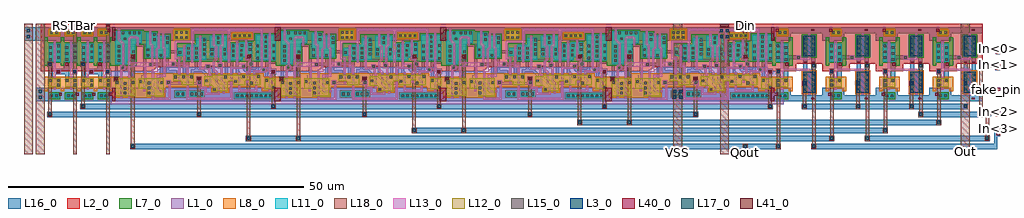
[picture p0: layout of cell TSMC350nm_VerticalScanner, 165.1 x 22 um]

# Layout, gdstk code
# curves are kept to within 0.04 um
from math import pi, radians
import gdstk
lib = gdstk.Library(unit=1e-6, precision=1e-09)
def R(c, l, rs):  # rectangles x0, y0, x1, y1
    for r in rs: c.add(gdstk.rectangle(r[:2], r[2:], *l))
def A(c, l, x, y, w, h, nx, ny, dx, dy):  # array of equal rectangles
    R(c, l, [(x+i*dx, y+j*dy, x+i*dx+w, y+j*dy+h) for i in range(nx) for j in range(ny)])
def P(c, l, *ps):  # polygons
    for p in ps: c.add(gdstk.Polygon(p, *l))
L1_0 = (1, 0)
L2_0 = (2, 0)
L3_0 = (3, 0)
L7_0 = (7, 0)
L8_0 = (8, 0)
L11_0 = (11, 0)
L12_0 = (12, 0)
L13_0 = (13, 0)
L15_0 = (15, 0)
L16_0 = (16, 0)
L17_0 = (17, 0)
L18_0 = (18, 0)
L40_0 = (40, 0)
L41_0 = (41, 0)

prog_periph_via2_cdns_73 = lib.new_cell('prog_periph_VIA2_CDNS_731114697990')
R(prog_periph_via2_cdns_73, L16_0, [(-0.45,-0.45,0.45,0.45)])
R(prog_periph_via2_cdns_73, L17_0, [(-0.25,-0.25,0.25,0.25)])
R(prog_periph_via2_cdns_73, L18_0, [(-0.4,-0.4,0.4,0.4)])

dfcn1 = lib.new_cell('DFCN1')
P(dfcn1, L1_0, [(28.2,5.05),(20.45,5.05),(19.8,5.7),(1.1,5.7),(1.1,5.05),(-1.6,5.05),(-1.6,-0.55),(28.2,-0.55)])
P(dfcn1, L2_0, [(28.9,13.05),(-0.9,13.05),(-0.9,5.05),(1.8,5.05),(1.8,5.7),(20.5,5.7),(21.15,5.05),(28.9,5.05)])
R(dfcn1, L7_0, [(0.6,0.3,7.4,1.5), (12.3,0.55,17.5,1.85)])
P(dfcn1, L7_0, [(23.8,6),(23.8,9.5),(22.65,9.5),(22.65,7.15),(18.05,7.15),(18.05,11.4),(20.25,11.4),(20.25,11.85),(22.65,11.85),(22.65,12.1),(28,12.1),(28,10.8),(28.3,10.8),(28.3,6)],
  [(-0.3,6),(-0.3,10.8),(0,10.8),(0,11.45),(3.95,11.45),(3.95,10.2),(6.65,10.2),(6.65,9.95),(8.1,9.95),(8.1,11.35),(14,11.35),(14,9.8),(17.1,9.8),(17.1,6.65),(0.3,6.65),(0.3,6)])
R(dfcn1, L8_0, [(14.8,10.2,17.65,12.2), (4.2,10.45,7.8,11.65)])
P(dfcn1, L8_0, [(19,0.55),(19,2.35),(11.25,2.35),(11.25,1.4),(8.2,1.4),(8.2,2.35),(2.7,2.35),(2.7,1.7),(-0.3,1.7),(-0.3,4.1),(2.35,4.1),(2.35,4.75),(24.275,4.75),(24.275,4.1),(28.3,4.1),(28.3,1.7),(28,1.7),(28,0.55)])
R(dfcn1, L11_0, [(0.85,0.55,7.15,1.25), (12.55,0.85,14.85,1.55), (15.7,0.85,17.2,1.55), (0.3,6.9,3.7,11.2)])
P(dfcn1, L11_0, [(18.3,7.4),(18.3,11.05),(20.5,11.05),(20.5,11.6),(22.25,11.6),(22.25,7.4)],
  [(5.9,6.9),(5.9,7.45),(4.3,7.45),(4.3,9.95),(6.4,9.95),(6.4,9.7),(7.85,9.7),(7.85,8.3),(8.6,8.3),(8.6,11.05),(11.45,11.05),(11.45,7.4),(9.25,7.4),(9.25,6.9)],
  [(25.45,6.25),(25.45,6.9),(24.05,6.9),(24.05,9.8),(22.95,9.8),(22.95,11.85),(27.5,11.85),(27.5,6.25)],
  [(13.5,6.9),(13.5,7),(12.05,7),(12.05,10.7),(13.75,10.7),(13.75,9.5),(15.45,9.5),(15.45,9.05),(16.85,9.05),(16.85,7.65),(15.45,7.65),(15.45,6.9)])
R(dfcn1, L12_0, [(24.1,0.85,27.5,3.85), (0.3,2,2.2,3.85), (15.1,10.45,17.4,11.95), (4.45,10.7,7.55,11.4)])
P(dfcn1, L12_0, [(14.2,2.7),(14.2,4.5),(17.65,4.5),(17.65,3.4),(16.2,3.4),(16.2,2.7)],
  [(8.45,1.65),(8.45,3.4),(7.5,3.4),(7.5,2.7),(5.5,2.7),(5.5,3.5),(4.75,3.5),(4.75,2.7),(2.9,2.7),(2.9,4.5),(11,4.5),(11,4.2),(12.4,4.2),(12.4,2.6),(11,2.6),(11,1.65)],
  [(19.25,0.85),(19.25,3.85),(23.5,3.85),(23.5,2.1),(22.1,2.1),(22.1,0.85)])
P(dfcn1, L13_0, [(5.35,5.5),(5.35,6.3),(6.65,6.3),(6.65,10.1),(7,10.1),(7,5.85),(8.05,5.85),(8.05,0.6),(15.05,0.6),(15.05,6.05),(15.65,6.05),(15.65,9.45),(16,9.45),(16,5.7),(15.4,5.7),(15.4,0.25),(7.7,0.25),(7.7,5.5)],
  [(1.95,4.9),(1.95,5.7),(2.5,5.7),(2.5,12.25),(14.6,12.25),(14.6,10.25),(17.4,10.25),(17.4,7.1),(16.8,7.1),(16.8,3),(16.45,3),(16.45,7.45),(17.05,7.45),(17.05,9.9),(14.6,9.9),(14.6,6.5),(14.25,6.5),(14.25,11.9),(8.4,11.9),(8.4,6.5),(8.05,6.5),(8.05,11.9),(2.85,11.9),(2.85,5.25),(4.1,5.25),(4.1,3.65),(3.8,3.35),(3.8,1.95),(6.3,1.95),(6.3,4.9),(6.65,4.9),(6.65,1.6),(3.45,1.6),(3.45,3.5),(3.75,3.8),(3.75,4.9)],
  [(25.8,5.25),(25.8,6.05),(25.95,6.05),(25.95,9.8),(26.65,10.5),(26.65,12.25),(27,12.25),(27,10.35),(26.3,9.65),(26.3,6.05),(26.65,6.05),(26.65,0.45),(26.3,0.45),(26.3,5.25)],
  [(21.05,5.8),(21.05,9.45),(21.4,9.8),(21.4,12),(21.75,12),(21.75,9.65),(21.4,9.3),(21.4,6.6),(24.9,6.6),(24.9,10.5),(24.75,10.65),(23.95,10.65),(23.85,10.55),(23.85,9.4),(23.5,9.4),(23.5,10.7),(23.8,11),(24.9,11),(25.25,10.65),(25.3,0.45),(24.95,0.45),(24.9,5.8),(22.6,5.8),(22.6,2.9),(22.75,2.75),(22.75,1.7),(22.4,1.7),(22.4,2.6),(22.25,2.75),(22.25,5.8)],
  [(18.85,1.5),(18.85,1.85),(19.95,1.85),(20.1,2),(20.1,4.15),(18.9,4.15),(18.9,5.85),(17.25,5.85),(17.25,6.65),(18.9,6.65),(18.9,8.95),(19.15,9.2),(19.15,11.45),(19.5,11.45),(19.5,9.05),(19.25,8.8),(19.25,4.5),(20.45,4.5),(20.45,1.85),(20.1,1.5)],
  [(11.2,2.2),(11.2,4.65),(11.4,4.85),(11.4,6.25),(12.2,6.25),(12.2,5.7),(12.9,5.7),(12.9,11.1),(13.25,11.1),(13.25,5.35),(11.75,5.35),(11.75,4.7),(11.55,4.5),(11.55,2.2)],
  [(8.95,1.25),(8.95,3.1),(9.3,3.45),(9.3,6.4),(9.45,6.4),(9.45,9.1),(9.1,9.45),(9.1,11.45),(9.45,11.45),(9.45,9.6),(9.8,9.25),(9.8,6.4),(10.15,6.4),(10.15,5.6),(9.65,5.6),(9.65,3.3),(9.3,2.95),(9.3,1.25)],
  [(18.05,0.25),(18.05,3.55),(18.85,3.55),(18.85,2.75),(18.4,2.75),(18.4,0.6),(20.9,0.6),(20.9,5),(20.25,5),(20.25,8.65),(19.95,8.95),(19.95,11.45),(20.3,11.45),(20.3,9.1),(20.6,8.8),(20.6,5.35),(21.25,5.35),(21.25,0.25)],
  [(9.8,1.05),(9.8,2.65),(10.15,3),(10.15,4.95),(10.6,5.4),(10.6,6.6),(10.25,6.95),(10.25,9.25),(10.6,9.6),(10.6,11.45),(10.95,11.45),(10.95,9.45),(10.6,9.1),(10.6,7.1),(10.95,6.75),(10.95,5.25),(10.5,4.8),(10.5,2.85),(10.15,2.5),(10.15,1.4),(12,1.4),(12,2.4),(12.8,2.4),(12.8,3.55),(13.6,3.55),(13.6,2.75),(13.15,2.75),(13.15,2.05),(12.35,2.05),(12.35,1.05)],
  [(1.15,1.6),(1.15,2.75),(1,2.9),(1,4.6),(0.3,4.6),(0.3,5.4),(1.15,5.4),(1.15,11.6),(1.5,11.6),(1.5,4.6),(1.35,4.6),(1.35,3.05),(1.5,2.9),(1.5,1.6)],
  [(4.55,4.7),(4.55,5.9),(4.1,5.9),(4.1,6.7),(4.55,6.7),(4.55,7.25),(5.15,7.25),(5.15,10.35),(5.5,10.35),(5.5,6.9),(4.9,6.9),(4.9,5.05),(5.3,5.05),(5.3,3.1),(4.95,3.1),(4.95,4.7)])
A(dfcn1, L15_0, 1, 0.7, 0.4, 0.4, 8, 1, 0.8, 0)
A(dfcn1, L15_0, 12.7, 1, 0.4, 0.4, 3, 1, 0.8, 0)
A(dfcn1, L15_0, 21.55, 1.15, 0.4, 0.4, 1, 3, 0, 0.85)
A(dfcn1, L15_0, 25.6, 1.15, 0.4, 0.4, 1, 3, 0, 0.8)
A(dfcn1, L15_0, 26.65, 6.65, 0.4, 0.4, 1, 4, 0, 0.8)
A(dfcn1, L15_0, 13.55, 7.15, 0.4, 0.4, 1, 3, 0, 0.8)
A(dfcn1, L15_0, 1.8, 7.45, 0.4, 0.4, 1, 5, 0, 0.8)
A(dfcn1, L15_0, 12.2, 7.75, 0.4, 0.4, 1, 4, 0, 0.8)
A(dfcn1, L15_0, 15.25, 10.6, 0.4, 0.4, 3, 2, 0.8, 0.8)
A(dfcn1, L15_0, 4.6, 10.85, 0.4, 0.4, 4, 1, 0.8, 0)
A(dfcn1, L15_0, 23.2, 11.3, 0.4, 0.4, 3, 1, 0.8, 0)
R(dfcn1, L15_0, [(15.85,1,16.25,1.4), (16.65,1,17.05,1.4), (10.45,1.8,10.85,2.2), (0.45,2.15,0.85,2.55), (4.2,2.85,4.6,3.25), (13,2.95,13.4,3.35), (18.25,2.95,18.65,3.35), (19.4,2.95,19.8,3.35), (24.25,2.95,24.65,3.35), (26.95,2.95,27.35,3.35), (22.95,3.1,23.35,3.5), (6.95,3.15,7.35,3.55), (11.85,3.25,12.25,3.65), (1.65,3.3,2.05,3.7), (8.6,3.85,9,4.25), (14.35,3.9,14.75,4.3), (15.7,3.9,16.1,4.3), (17.1,3.9,17.5,4.3), (3.05,3.95,3.45,4.35), (5.6,3.95,6,4.35), (0.5,4.8,0.9,5.2), (2.15,5.1,2.55,5.5), (26,5.45,26.4,5.85), (11.6,5.65,12,6.05), (5.55,5.7,5.95,6.1), (9.55,5.8,9.95,6.2), (21.25,6,21.65,6.4), (17.45,6.05,17.85,6.45), (4.3,6.1,4.7,6.5), (0.45,7.05,0.85,7.45), (14.9,7.05,15.3,7.45), (24.2,7.05,24.6,7.45), (3.15,7.1,3.55,7.5), (7.3,7.5,7.7,7.9), (19.55,7.55,19.95,7.95), (21.7,7.55,22.1,7.95), (5.95,7.6,6.35,8), (8.75,7.75,9.15,8.15), (10.9,7.75,11.3,8.15), (14.9,7.95,15.3,8.35), (16.3,8.05,16.7,8.45), (0.45,8.15,0.85,8.55), (3.15,8.15,3.55,8.55), (24.2,8.15,24.6,8.55), (7.3,8.3,7.7,8.7), (5.95,8.4,6.35,8.8), (21.7,8.5,22.1,8.9), (4.45,8.55,4.85,8.95), (8.75,8.55,9.15,8.95), (10.9,8.55,11.3,8.95), (14.9,8.75,15.3,9.15), (3.15,9.15,3.55,9.55), (7.3,9.15,7.7,9.55), (0.45,9.2,0.85,9.6), (5.85,9.2,6.25,9.6), (4.45,9.4,4.85,9.8), (9.85,9.7,10.25,10.1), (18.45,9.7,18.85,10.1), (20.65,10.25,21.05,10.65), (25.6,10.35,26,10.75), (9.85,10.5,10.25,10.9), (18.45,10.5,18.85,10.9), (20.65,11.05,21.05,11.45), (25.95,11.3,26.35,11.7)])
R(dfcn1, L16_0, [(0.25,4.55,1.15,5.45)])
P(dfcn1, L16_0, [(22.55,2.95),(22.55,3.9),(22.25,3.9),(22.25,7.4),(21.55,7.4),(21.55,8.55),(18.95,8.55),(18.95,4.75),(17.65,4.75),(17.65,3.75),(16.95,3.75),(16.95,5.25),(18.45,5.25),(18.45,8.1),(16.85,8.1),(16.85,7.9),(16.15,7.9),(16.15,8.6),(18.45,8.6),(18.45,9.05),(22.25,9.05),(22.25,9.7),(25.95,9.7),(25.95,6),(26.55,6),(26.55,5.3),(25.45,5.3),(25.45,9.2),(22.75,9.2),(22.75,4.4),(23.05,4.4),(23.05,3.65),(23.5,3.65),(23.5,2.95)],
  [(7.5,2.75),(7.5,3),(6.8,3),(6.8,3.7),(7.5,3.7),(7.5,7.35),(7.15,7.35),(7.15,9.7),(7.85,9.7),(7.85,8.05),(8,8.05),(8,3.25),(9.55,3.25),(10.6,4.3),(10.6,6),(11.45,6),(11.45,6.2),(12.15,6.2),(12.15,5.55),(12.1,5.5),(11.1,5.5),(11.1,4.05),(9.8,2.75)],
  [(5.45,3.8),(5.45,4.5),(5.95,4.5),(6.55,5.1),(6.55,6.5),(6,7.05),(6,7.45),(5.8,7.45),(5.8,9.05),(5.7,9.05),(5.7,9.75),(6.5,9.75),(6.5,7.3),(7.05,6.75),(7.05,4.8),(6.25,4),(6.15,4),(6.15,3.8)],
  [(2.9,3.8),(2.9,4.5),(3.15,4.5),(3.15,6.95),(3,6.95),(3,9.7),(3.7,9.7),(3.65,5.5),(5.15,5.5),(5.4,5.75),(5.4,6.25),(6.1,6.25),(6.1,5.55),(5.55,5),(3.65,5),(3.65,3.8)],
  [(0.3,6.3),(0.3,9.75),(1,9.75),(1,6.8),(2.1,6.8),(2.1,5.65),(2.7,5.65),(2.7,4.95),(2.1,4.95),(2.1,3.85),(2.2,3.85),(2.2,3.15),(1.5,3.15),(1.5,3.85),(1.6,3.85),(1.6,6.3)],
  [(14.95,6),(14.95,6.9),(14.75,6.9),(14.75,9.3),(15.45,9.3),(15.45,6.5),(17.3,6.5),(17.3,6.6),(18,6.6),(18,5.9),(17.3,5.9),(17.3,6),(16.05,6),(16.05,4.45),(16.25,4.45),(16.25,3.75),(15.55,3.75),(15.55,6)],
  [(11.7,3.1),(11.7,3.8),(11.85,3.8),(11.85,4.6),(12.6,5.35),(13.5,5.35),(13.5,6.65),(10.1,6.65),(10.1,5.65),(9.4,5.65),(9.4,6.35),(9.6,6.35),(9.6,7.15),(13.4,7.15),(13.4,9.3),(14.1,9.3),(14.1,7),(14,7),(14,5.35),(14.7,5.35),(14.7,4.45),(14.9,4.45),(14.9,3.75),(14.2,3.75),(14.2,4.85),(12.85,4.85),(12.35,4.35),(12.4,3.1)],
  [(8.45,3.7),(8.45,8.1),(8.6,8.1),(8.6,9.1),(9.3,9.1),(9.3,8.1),(10.75,8.1),(10.75,9.1),(11.45,9.1),(11.45,7.6),(8.95,7.6),(8.95,4.4),(9.15,4.4),(9.15,3.7)],
  [(19.25,2.8),(19.25,3.5),(19.4,3.5),(19.4,8.1),(20.1,8.1),(20.1,7.4),(19.9,7.4),(19.9,6.45),(21.1,6.45),(21.1,6.55),(21.8,6.55),(21.8,5.85),(21.1,5.85),(21.1,5.95),(19.9,5.95),(19.9,3.5),(19.95,3.5),(19.95,2.8)],
  [(0,0),(0,2.3),(0.3,2.3),(0.3,2.7),(1,2.7),(1,2.3),(4.05,2.3),(4.05,3.4),(4.75,3.4),(4.75,2.3),(10.3,2.3),(10.3,2.35),(11,2.35),(11,2.3),(21.4,2.3),(21.4,3.4),(22.1,3.4),(22.1,2.3),(25.45,2.3),(25.45,3.3),(26.15,3.3),(26.15,2.3),(28,2.3),(28,0)],
  [(1.65,7.3),(1.65,10.2),(0,10.2),(0,12.5),(28,12.5),(28,10.2),(21.2,10.2),(21.2,10.1),(20.5,10.1),(20.5,10.2),(19,10.2),(19,9.55),(18.3,9.55),(18.3,10.2),(12.75,10.2),(12.75,7.6),(12.05,7.6),(12.05,10.2),(10.4,10.2),(10.4,9.55),(9.7,9.55),(9.7,10.2),(5,10.2),(5,8.4),(4.3,8.4),(4.3,10.2),(2.35,10.2),(2.35,7.3)],
  [(26.8,2.8),(26.8,3.5),(26.85,3.5),(26.85,4.2),(27,4.2),(27,6.5),(26.5,6.5),(26.5,9.6),(27.2,9.6),(27.2,7.2),(27.5,7.2),(27.5,4.2),(27.75,4.2),(27.75,3.3),(27.5,3.3),(27.5,2.8)],
  [(24.1,2.8),(24.1,3.5),(24.4,3.5),(24.4,6.9),(24.05,6.9),(24.05,8.7),(24.75,8.7),(24.75,7.95),(24.95,7.95),(24.95,7.05),(24.9,7.05),(24.9,2.8)],
  [(4.15,5.95),(4.15,6.65),(4.35,6.65),(4.35,7.95),(5.35,7.95),(5.35,7.05),(4.85,7.05),(4.85,5.95)],
  [(12.85,2.8),(12.85,4.2),(13.75,4.2),(13.75,3.3),(18.1,3.3),(18.1,3.5),(18.8,3.5),(18.8,2.8)])
R(dfcn1, L40_0, [(0,0,0.55,2.3), (27.45,0,28,2.3), (0,10.2,0.51,12.5), (27.45,10.2,28,12.5)])
R(dfcn1, L41_0, [(13.05,3.5,13.55,4), (27.05,3.5,27.55,4), (0.45,4.75,0.95,5.25), (4.65,7.25,5.15,7.75), (24.25,7.25,24.75,7.75)])
dfcn1.add(gdstk.Reference(prog_periph_via2_cdns_73, (24.5,7.5)))
dfcn1.add(gdstk.Reference(prog_periph_via2_cdns_73, (27.3,3.75)))
dfcn1.add(gdstk.Reference(prog_periph_via2_cdns_73, (13.3,3.74)))
dfcn1.add(gdstk.Reference(prog_periph_via2_cdns_73, (4.9,7.5)))
dfcn1.add(gdstk.Reference(prog_periph_via2_cdns_73, (0.7,5)))
dfcn1.add(gdstk.Label('D', (4.9,7.5), layer=41, texttype=0))
dfcn1.add(gdstk.Label('CP', (0.7,5), layer=41, texttype=0))
dfcn1.add(gdstk.Label('CDN', (13.3,3.75), layer=41, texttype=0))
dfcn1.add(gdstk.Label('Q', (24.5,7.5), layer=41, texttype=0))
dfcn1.add(gdstk.Label('QN', (27.3,3.75), layer=41, texttype=0))
dfcn1.add(gdstk.Label('DFCN1', (0,0), layer=62, texttype=0))
dfcn1.add(gdstk.Label('VSS!', (27.73,1.21), layer=40, texttype=0))
dfcn1.add(gdstk.Label('VDD!', (27.67,11.42), layer=40, texttype=0))
dfcn1.add(gdstk.Label('VDD!', (0.22,11.42), layer=40, texttype=0))
dfcn1.add(gdstk.Label('VSS!', (0.28,1.21), layer=40, texttype=0))
dfcn1.add(gdstk.Label('& SerialNumber 000000', (28.15,0), layer=11, texttype=0))
dfcn1.add(gdstk.Label('& Distributor Vanguard', (28.15,0), layer=11, texttype=0))
dfcn1.add(gdstk.Label('& Metric 350.0', (28.15,0), layer=11, texttype=0))
dfcn1.add(gdstk.Label('& Version 400c', (28.15,0), layer=11, texttype=0))
dfcn1.add(gdstk.Label('& Product tcb773p', (28.15,0), layer=11, texttype=0))
dfcn1.add(gdstk.Label('& Vendor Taiwan Semiconductor Manufacturing Corp.', (28.15,0), layer=11, texttype=0))
dfcn1.add(gdstk.Label('& Vendor Taiwan Semiconductor Manufacturing Corp.', (0.7,0), layer=11, texttype=0))
dfcn1.add(gdstk.Label('& Product tcb773p', (0.7,0), layer=11, texttype=0))
dfcn1.add(gdstk.Label('& Version 400c', (0.7,0), layer=11, texttype=0))
dfcn1.add(gdstk.Label('& Metric 350.0', (0.7,0), layer=11, texttype=0))
dfcn1.add(gdstk.Label('& Distributor Vanguard', (0.7,0), layer=11, texttype=0))
dfcn1.add(gdstk.Label('& SerialNumber 000000', (0.7,0), layer=11, texttype=0))
dfcn1.add(gdstk.Label('& SerialNumber 000000', (0,0), layer=63, texttype=63))
dfcn1.add(gdstk.Label('& Distributor Vanguard', (0,0), layer=63, texttype=63))
dfcn1.add(gdstk.Label('& Metric 350.0', (0,0), layer=63, texttype=63))
dfcn1.add(gdstk.Label('& Version 400c', (0,0), layer=63, texttype=63))
dfcn1.add(gdstk.Label('& Product tcb773p', (0,0), layer=63, texttype=63))
dfcn1.add(gdstk.Label('& Vendor Taiwan Semiconductor Manufacturing Corp.', (0,0), layer=63, texttype=63))

inv0 = lib.new_cell('INV0')
R(inv0, L2_0, [(-1.6,5.05,3,13.05)])
R(inv0, L7_0, [(-0.3,0.3,1.7,1.5)])
P(inv0, L7_0, [(-1,6),(-1,10.8),(-0.4,10.8),(-0.4,9.95),(1.8,9.95),(1.8,10.8),(2.4,10.8),(2.4,6),(1.8,6),(1.8,6.45),(-0.4,6.45),(-0.4,6)])
R(inv0, L8_0, [(-0.3,11,1.7,12.2)])
P(inv0, L8_0, [(-1,1.7),(-1,4.1),(2.4,4.1),(2.4,1.7),(1.8,1.7),(1.8,2.1),(-0.4,2.1),(-0.4,1.7)])
R(inv0, L11_0, [(-0.05,0.55,1.45,1.25), (-0.4,6.7,1.65,9.7)])
R(inv0, L12_0, [(-0.4,2.35,1.65,3.85), (-0.05,11.25,1.45,11.95)])
P(inv0, L13_0, [(0.45,1.95),(0.45,4.6),(-0.4,4.6),(-0.4,5.4),(0.45,5.4),(0.45,10.1),(0.8,10.1),(0.8,1.95)])
A(inv0, L15_0, 1.1, 6.85, 0.4, 0.4, 1, 3, 0, 1)
A(inv0, L15_0, -0.25, 7.15, 0.4, 0.4, 1, 3, 0, 1)
R(inv0, L15_0, [(0.1,0.7,0.5,1.1), (0.9,0.7,1.3,1.1), (-0.25,2.5,0.15,2.9), (-0.25,3.3,0.15,3.7), (1.1,3.3,1.5,3.7), (-0.2,4.8,0.2,5.2), (0.1,11.4,0.5,11.8), (0.9,11.4,1.3,11.8)])
R(inv0, L16_0, [(-0.45,4.55,0.45,5.45)])
P(inv0, L16_0, [(-0.7,0),(-0.7,2.3),(-0.4,2.3),(-0.4,3.85),(0.3,3.85),(0.3,2.3),(2.1,2.3),(2.1,0)],
  [(-0.4,7),(-0.4,10.2),(-0.7,10.2),(-0.7,12.5),(2.1,12.5),(2.1,10.2),(0.3,10.2),(0.3,7)],
  [(0.95,3.15),(0.95,9.4),(1.65,9.4),(1.65,6.7),(1.85,6.7),(1.85,5.8),(1.65,5.8),(1.65,3.15)])
R(inv0, L40_0, [(-0.625,0.9,-0.125,1.4), (-0.25,4.75,0.25,5.25), (1.15,6,1.65,6.5), (-0.425,11.75,0.075,12.25)])
inv0.add(gdstk.Label('ZN', (1.4,6.25), layer=40, texttype=0))
inv0.add(gdstk.Label('I', (0,5), layer=40, texttype=0))
inv0.add(gdstk.Label('VDD!', (-0.175,12), layer=40, texttype=0))
inv0.add(gdstk.Label('VSS!', (-0.375,1.15), layer=40, texttype=0))

nch_cdns_713049366980 = lib.new_cell('nch_CDNS_713049366980')
R(nch_cdns_713049366980, L3_0, [(-0.85,0,-0.15,3.5), (-0.85,0,-0.15,3.5), (-0.15,0,0.5,3.5), (0.5,0,1.2,3.5), (0.5,0,1.2,3.5)])
R(nch_cdns_713049366980, L8_0, [(-1.1,-0.25,1.45,3.75)])
R(nch_cdns_713049366980, L13_0, [(0,-0.4,0.35,3.9)])
A(nch_cdns_713049366980, L15_0, -0.7, 0.35, 0.4, 0.4, 1, 4, 0, 0.8)
A(nch_cdns_713049366980, L15_0, 0.65, 0.35, 0.4, 0.4, 1, 4, 0, 0.8)
R(nch_cdns_713049366980, L16_0, [(-0.85,0,-0.15,3.5), (0.5,0,1.2,3.5)])
nch_cdns_713049366980.add(gdstk.Label('G', (0.175,1.75), layer=59, texttype=0))
nch_cdns_713049366980.add(gdstk.Label('S', (-0.5,1.75), layer=59, texttype=0))
nch_cdns_713049366980.add(gdstk.Label('D', (0.85,1.75), layer=59, texttype=0))
nch_cdns_713049366980.add(gdstk.Label('& Vendor VIS Corp.', (0,0), layer=16, texttype=0))
nch_cdns_713049366980.add(gdstk.Label('& PDKName     vis35cv', (0,0), layer=16, texttype=0))
nch_cdns_713049366980.add(gdstk.Label('& Version    \t  1.7A', (0,0), layer=16, texttype=0))
nch_cdns_713049366980.add(gdstk.Label('& Metric 1', (0,0), layer=16, texttype=0))
nch_cdns_713049366980.add(gdstk.Label('& Distributor VIS', (0,0), layer=16, texttype=0))
nch_cdns_713049366980.add(gdstk.Label('& SerialNumber 000000', (0,0), layer=16, texttype=0))
nch_cdns_713049366980.add(gdstk.Label('& Vendor VIS Corp.', (0,0), layer=63, texttype=63))
nch_cdns_713049366980.add(gdstk.Label('& PDKName     vis35cv', (0,0), layer=63, texttype=63))
nch_cdns_713049366980.add(gdstk.Label('& Version    \t  1.7A', (0,0), layer=63, texttype=63))
nch_cdns_713049366980.add(gdstk.Label('& Metric 1', (0,0), layer=63, texttype=63))
nch_cdns_713049366980.add(gdstk.Label('& Distributor VIS', (0,0), layer=63, texttype=63))
nch_cdns_713049366980.add(gdstk.Label('& SerialNumber 000000', (0,0), layer=63, texttype=63))

pch_cdns_713049366981 = lib.new_cell('pch_CDNS_713049366981')
R(pch_cdns_713049366981, L2_0, [(-2.05,-1.2,2.4,4.7)])
R(pch_cdns_713049366981, L3_0, [(-0.85,0,-0.15,3.5), (-0.85,0,-0.15,3.5), (-0.15,0,0.5,3.5), (0.5,0,1.2,3.5), (0.5,0,1.2,3.5)])
R(pch_cdns_713049366981, L7_0, [(-1.1,-0.25,1.45,3.75)])
R(pch_cdns_713049366981, L13_0, [(0,-0.4,0.35,3.9)])
A(pch_cdns_713049366981, L15_0, -0.7, 0.35, 0.4, 0.4, 1, 4, 0, 0.8)
A(pch_cdns_713049366981, L15_0, 0.65, 0.35, 0.4, 0.4, 1, 4, 0, 0.8)
R(pch_cdns_713049366981, L16_0, [(-0.85,0,-0.15,3.5), (0.5,0,1.2,3.5)])
pch_cdns_713049366981.add(gdstk.Label('G', (0.175,1.75), layer=59, texttype=0))
pch_cdns_713049366981.add(gdstk.Label('S', (-0.5,1.75), layer=59, texttype=0))
pch_cdns_713049366981.add(gdstk.Label('D', (0.85,1.75), layer=59, texttype=0))
pch_cdns_713049366981.add(gdstk.Label('& Vendor VIS Corp.', (0,0), layer=16, texttype=0))
pch_cdns_713049366981.add(gdstk.Label('& PDKName     vis35cv', (0,0), layer=16, texttype=0))
pch_cdns_713049366981.add(gdstk.Label('& Version    \t  1.7A', (0,0), layer=16, texttype=0))
pch_cdns_713049366981.add(gdstk.Label('& Metric 1', (0,0), layer=16, texttype=0))
pch_cdns_713049366981.add(gdstk.Label('& Distributor VIS', (0,0), layer=16, texttype=0))
pch_cdns_713049366981.add(gdstk.Label('& SerialNumber 000000', (0,0), layer=16, texttype=0))
pch_cdns_713049366981.add(gdstk.Label('& Vendor VIS Corp.', (0,0), layer=63, texttype=63))
pch_cdns_713049366981.add(gdstk.Label('& PDKName     vis35cv', (0,0), layer=63, texttype=63))
pch_cdns_713049366981.add(gdstk.Label('& Version    \t  1.7A', (0,0), layer=63, texttype=63))
pch_cdns_713049366981.add(gdstk.Label('& Metric 1', (0,0), layer=63, texttype=63))
pch_cdns_713049366981.add(gdstk.Label('& Distributor VIS', (0,0), layer=63, texttype=63))
pch_cdns_713049366981.add(gdstk.Label('& SerialNumber 000000', (0,0), layer=63, texttype=63))

m1_poly1__190324780_cdns = lib.new_cell('M1_POLY1$$190324780_CDNS_731114697993')
R(m1_poly1__190324780_cdns, L13_0, [(-0.4,-0.4,0.4,0.4)])
R(m1_poly1__190324780_cdns, L15_0, [(-0.2,-0.2,0.2,0.2)])
R(m1_poly1__190324780_cdns, L16_0, [(-0.35,-0.35,0.35,0.35)])

tgate_with_inverter = lib.new_cell('tgate_with_inverter')
R(tgate_with_inverter, L2_0, [(0,12.25,4.45,13.05)])
R(tgate_with_inverter, L13_0, [(2.05,5.15,6.65,5.5), (2.05,7,4.45,7.35)])
R(tgate_with_inverter, L16_0, [(0,0,6.9,1), (8.15,0,9.05,2.3), (1.2,4.95,1.9,7.55), (2.55,4.95,3.25,7.55), (5.6,6.7,5.8,7.05), (4.4,7.05,5.8,7.75), (8.15,10.2,9.05,12.5), (0,11.5,6.9,12.5)])
R(tgate_with_inverter, L40_0, [(1.36,0.3,1.91,0.57), (7.21,5.25,7.69,5.38), (1.38,6.48,1.72,6.63), (2.73,6.48,3.07,6.63), (1.36,11.89,1.91,12.16)])
tgate_with_inverter.add(gdstk.Reference(inv0, (7.45,0), rotation=pi, x_reflection=True))
tgate_with_inverter.add(gdstk.Reference(nch_cdns_713049366980, (2.05,1.45)))
tgate_with_inverter.add(gdstk.Reference(pch_cdns_713049366981, (2.05,7.55)))
tgate_with_inverter.add(gdstk.Reference(m1_poly1__190324780_cdns, (4.05,7.4)))
tgate_with_inverter.add(gdstk.Label('VDD!', (1.64,12.02), layer=40, texttype=0))
tgate_with_inverter.add(gdstk.Label('Sel', (7.45,5.31), layer=40, texttype=0))
tgate_with_inverter.add(gdstk.Label('A', (1.55,6.55), layer=40, texttype=0))
tgate_with_inverter.add(gdstk.Label('B', (2.9,6.55), layer=40, texttype=0))
tgate_with_inverter.add(gdstk.Label('VSS!', (1.64,0.43), layer=40, texttype=0))

m2_m1__193668140_cdns_73 = lib.new_cell('M2_M1$$193668140_CDNS_731114697991')
R(m2_m1__193668140_cdns_73, L16_0, [(-0.95,-0.95,0.95,0.95)])
R(m2_m1__193668140_cdns_73, L17_0, [(-0.75,-0.75,-0.25,-0.25), (0.25,-0.75,0.75,-0.25), (-0.75,0.25,-0.25,0.75), (0.25,0.25,0.75,0.75)])
R(m2_m1__193668140_cdns_73, L18_0, [(-0.9,-0.9,0.9,0.9)])

m2_m1__193575980_cdns_73 = lib.new_cell('M2_M1$$193575980_CDNS_731114697992')
R(m2_m1__193575980_cdns_73, L16_0, [(-0.45,-0.95,0.45,0.95)])
R(m2_m1__193575980_cdns_73, L17_0, [(-0.25,-0.75,0.25,-0.25), (-0.25,0.25,0.25,0.75)])
R(m2_m1__193575980_cdns_73, L18_0, [(-0.4,-0.9,0.4,0.9)])

tsmc350nm_verticalscanne = lib.new_cell('TSMC350nm_VerticalScanner')
R(tsmc350nm_verticalscanne, L16_0, [(164.63,3.01,165.1,3.94), (164.41,6.35,165.1,6.79), (2,8.95,3.7,11.25), (6.25,13.5,6.95,14.4), (11.85,13.5,12.55,14.4), (164.29,14.14,165.1,14.7), (6.75,14.4,6.95,14.75), (12.35,14.4,12.55,14.75), (164.34,16.84,165.1,17.55), (0,19.15,3.7,21.44)])
R(tsmc350nm_verticalscanne, L40_0, [(164.45,3.14,165.1,4.44), (164.41,6.42,165.1,7.29), (164.47,10.71,165.1,11.2), (164.37,14.23,165.1,15.2), (164.37,16.96,165.1,18.04)])
R(tsmc350nm_verticalscanne, L41_0, [(109.81,0,111.31,0.47), (121.7,0,122.3,0.6), (158.45,0,159.95,0.82), (117.74,21.46,119.24,22), (121.7,21.57,122.3,22), (13.9,21.62,14.5,22), (8.3,21.63,8.9,22)])
tsmc350nm_verticalscanne.add(gdstk.FlexPath([(164.38,1.1),(164.52,1.1)], 0.5, ends=(0.25, 0), simple_path=True, layer=16, datatype=0))  # L16_0
tsmc350nm_verticalscanne.add(gdstk.FlexPath([(164.38,4.19),(164.38,1.1)], 0.5, ends=(0, 0.25), simple_path=True, layer=16, datatype=0))  # L16_0
tsmc350nm_verticalscanne.add(gdstk.FlexPath([(37.7,2.65),(137.1,2.65)], 0.9, ends="flush", simple_path=True, layer=16, datatype=0))  # L16_0
tsmc350nm_verticalscanne.add(gdstk.FlexPath([(164.17,1.3),(133.3,1.3)], 0.9, ends="flush", simple_path=True, layer=16, datatype=0))  # L16_0
tsmc350nm_verticalscanne.add(gdstk.FlexPath([(151.4,6.7),(161.43,6.7)], 0.9, ends="flush", simple_path=True, layer=16, datatype=0))  # L16_0
tsmc350nm_verticalscanne.add(gdstk.FlexPath([(131.73,8.05),(159.65,8.05)], 0.9, ends="flush", simple_path=True, layer=16, datatype=0))  # L16_0
tsmc350nm_verticalscanne.add(gdstk.FlexPath([(126.5,8.05),(9.7,8.05)], 0.9, ends="flush", simple_path=True, layer=16, datatype=0))  # L16_0
tsmc350nm_verticalscanne.add(gdstk.FlexPath([(113.9,6.7),(3.98,6.7)], 0.9, ends="flush", simple_path=True, layer=16, datatype=0))  # L16_0
tsmc350nm_verticalscanne.add(gdstk.FlexPath([(127.65,1.3),(18.1,1.3)], 0.9, ends="flush", simple_path=True, layer=16, datatype=0))  # L16_0
tsmc350nm_verticalscanne.add(gdstk.FlexPath([(146,4),(65.7,4)], 0.9, ends="flush", simple_path=True, layer=16, datatype=0))  # L16_0
tsmc350nm_verticalscanne.add(gdstk.FlexPath([(155.05,5.35),(93.7,5.35)], 0.9, ends="flush", simple_path=True, layer=16, datatype=0))  # L16_0
tsmc350nm_verticalscanne.add(gdstk.FlexPath([(165.1,4.19),(164.13,4.19)], 0.5, ends="flush", simple_path=True, layer=16, datatype=0))  # L16_0
tsmc350nm_verticalscanne.add(gdstk.FlexPath([(165.1,7.04),(162.7,7.04)], 0.5, ends="flush", simple_path=True, layer=16, datatype=0))  # L16_0
tsmc350nm_verticalscanne.add(gdstk.FlexPath([(165.1,14.95),(161.45,14.95)], 0.5, ends="flush", simple_path=True, layer=16, datatype=0))  # L16_0
tsmc350nm_verticalscanne.add(gdstk.FlexPath([(165.1,17.8),(160.88,17.8)], 0.5, ends="flush", simple_path=True, layer=16, datatype=0))  # L16_0
tsmc350nm_verticalscanne.add(gdstk.FlexPath([(163.35,2.65),(142.65,2.65)], 0.9, ends="flush", simple_path=True, layer=16, datatype=0))  # L16_0
tsmc350nm_verticalscanne.add(gdstk.FlexPath([(0.75,22),(0.75,0)], 1.5, ends="flush", simple_path=True, layer=18, datatype=0))  # L18_0
tsmc350nm_verticalscanne.add(gdstk.FlexPath([(2.75,22),(2.75,0)], 1.5, ends="flush", simple_path=True, layer=18, datatype=0))  # L18_0
tsmc350nm_verticalscanne.add(gdstk.FlexPath([(122,1.54),(122,0)], 0.6, ends="flush", simple_path=True, layer=18, datatype=0))  # L18_0
tsmc350nm_verticalscanne.add(gdstk.FlexPath([(122,22),(122,16.05)], 0.6, ends="flush", simple_path=True, layer=18, datatype=0))  # L18_0
tsmc350nm_verticalscanne.add(gdstk.FlexPath([(110.56,22),(110.56,0)], 1.5, ends="flush", simple_path=True, layer=18, datatype=0))  # L18_0
tsmc350nm_verticalscanne.add(gdstk.FlexPath([(118.49,22),(118.49,0)], 1.5, ends="flush", simple_path=True, layer=18, datatype=0))  # L18_0
tsmc350nm_verticalscanne.add(gdstk.FlexPath([(132.05,12.01),(132.05,7.6)], 0.6, ends="flush", simple_path=True, layer=18, datatype=0))  # L18_0
tsmc350nm_verticalscanne.add(gdstk.FlexPath([(150.15,12.01),(150.15,7.6)], 0.6, ends="flush", simple_path=True, layer=18, datatype=0))  # L18_0
tsmc350nm_verticalscanne.add(gdstk.FlexPath([(141.1,12.01),(141.1,7.6)], 0.6, ends="flush", simple_path=True, layer=18, datatype=0))  # L18_0
tsmc350nm_verticalscanne.add(gdstk.FlexPath([(163,2.25),(163,7.24)], 0.6, ends="flush", simple_path=True, layer=18, datatype=0))  # L18_0
tsmc350nm_verticalscanne.add(gdstk.FlexPath([(161.9,6.3),(161.9,15.14)], 0.6, ends="flush", simple_path=True, layer=18, datatype=0))  # L18_0
tsmc350nm_verticalscanne.add(gdstk.FlexPath([(133.6,14.94),(133.6,1.28)], 0.6, ends="flush", simple_path=True, layer=18, datatype=0))  # L18_0
tsmc350nm_verticalscanne.add(gdstk.FlexPath([(142.65,14.94),(142.65,2.2)], 0.6, ends="flush", simple_path=True, layer=18, datatype=0))  # L18_0
tsmc350nm_verticalscanne.add(gdstk.FlexPath([(151.7,14.94),(151.7,6.25)], 0.6, ends="flush", simple_path=True, layer=18, datatype=0))  # L18_0
tsmc350nm_verticalscanne.add(gdstk.FlexPath([(127.6,13.95),(127.6,0.85)], 0.6, ends="flush", simple_path=True, layer=18, datatype=0))  # L18_0
tsmc350nm_verticalscanne.add(gdstk.FlexPath([(136.65,13.95),(136.65,2.44)], 0.6, ends="flush", simple_path=True, layer=18, datatype=0))  # L18_0
tsmc350nm_verticalscanne.add(gdstk.FlexPath([(154.75,13.95),(154.75,4.9)], 0.6, ends="flush", simple_path=True, layer=18, datatype=0))  # L18_0
tsmc350nm_verticalscanne.add(gdstk.FlexPath([(145.7,13.95),(145.7,3.55)], 0.6, ends="flush", simple_path=True, layer=18, datatype=0))  # L18_0
tsmc350nm_verticalscanne.add(gdstk.FlexPath([(4.4,15.25),(4.4,6.53)], 0.6, ends="flush", simple_path=True, layer=18, datatype=0))  # L18_0
tsmc350nm_verticalscanne.add(gdstk.FlexPath([(8.6,13.95),(8.6,0)], 0.6, ends="flush", simple_path=True, layer=18, datatype=0))  # L18_0
tsmc350nm_verticalscanne.add(gdstk.FlexPath([(8.6,13.95),(8.6,22)], 0.6, ends="flush", simple_path=True, layer=18, datatype=0))  # L18_0
tsmc350nm_verticalscanne.add(gdstk.FlexPath([(10,15.25),(10,7.65)], 0.6, ends="flush", simple_path=True, layer=18, datatype=0))  # L18_0
tsmc350nm_verticalscanne.add(gdstk.FlexPath([(14.2,13.95),(14.2,0)], 0.6, ends="flush", simple_path=True, layer=18, datatype=0))  # L18_0
tsmc350nm_verticalscanne.add(gdstk.FlexPath([(14.2,13.95),(14.2,22)], 0.6, ends="flush", simple_path=True, layer=18, datatype=0))  # L18_0
tsmc350nm_verticalscanne.add(gdstk.FlexPath([(38,16.45),(38,2.2)], 0.6, ends="flush", simple_path=True, layer=18, datatype=0))  # L18_0
tsmc350nm_verticalscanne.add(gdstk.FlexPath([(66,16.45),(66,3.55)], 0.6, ends="flush", simple_path=True, layer=18, datatype=0))  # L18_0
tsmc350nm_verticalscanne.add(gdstk.FlexPath([(94,16.45),(94,4.9)], 0.6, ends="flush", simple_path=True, layer=18, datatype=0))  # L18_0
tsmc350nm_verticalscanne.add(gdstk.FlexPath([(18.4,16.45),(18.4,0.9)], 0.6, ends="flush", simple_path=True, layer=18, datatype=0))  # L18_0
tsmc350nm_verticalscanne.add(gdstk.FlexPath([(42.2,13.95),(42.2,8)], 0.6, ends="flush", simple_path=True, layer=18, datatype=0))  # L18_0
tsmc350nm_verticalscanne.add(gdstk.FlexPath([(70.2,13.95),(70.2,8)], 0.6, ends="flush", simple_path=True, layer=18, datatype=0))  # L18_0
tsmc350nm_verticalscanne.add(gdstk.FlexPath([(98.2,13.95),(98.2,8)], 0.6, ends="flush", simple_path=True, layer=18, datatype=0))  # L18_0
tsmc350nm_verticalscanne.add(gdstk.FlexPath([(29.6,12.69),(29.6,7.05)], 0.6, ends="flush", simple_path=True, layer=18, datatype=0))  # L18_0
tsmc350nm_verticalscanne.add(gdstk.FlexPath([(57.6,12.69),(57.6,7.05)], 0.6, ends="flush", simple_path=True, layer=18, datatype=0))  # L18_0
tsmc350nm_verticalscanne.add(gdstk.FlexPath([(85.6,12.69),(85.6,7.05)], 0.6, ends="flush", simple_path=True, layer=18, datatype=0))  # L18_0
tsmc350nm_verticalscanne.add(gdstk.FlexPath([(113.6,12.69),(113.6,7.05)], 0.6, ends="flush", simple_path=True, layer=18, datatype=0))  # L18_0
tsmc350nm_verticalscanne.add(gdstk.FlexPath([(126.2,13.95),(126.2,8)], 0.6, ends="flush", simple_path=True, layer=18, datatype=0))  # L18_0
tsmc350nm_verticalscanne.add(gdstk.FlexPath([(46.4,16.45),(46.4,2.2)], 0.6, ends="flush", simple_path=True, layer=18, datatype=0))  # L18_0
tsmc350nm_verticalscanne.add(gdstk.FlexPath([(74.4,16.45),(74.4,3.55)], 0.6, ends="flush", simple_path=True, layer=18, datatype=0))  # L18_0
tsmc350nm_verticalscanne.add(gdstk.FlexPath([(102.4,16.45),(102.4,4.9)], 0.6, ends="flush", simple_path=True, layer=18, datatype=0))  # L18_0
tsmc350nm_verticalscanne.add(gdstk.FlexPath([(159.2,22),(159.2,0)], 1.5, ends="flush", simple_path=True, layer=18, datatype=0))  # L18_0
r = gdstk.Reference(dfcn1, (126.9,8.95), rotation=pi, x_reflection=True); r.repetition = gdstk.Repetition(4, 1, v1=(-28,0), v2=(0,12.5)); tsmc350nm_verticalscanne.add(r)
tsmc350nm_verticalscanne.add(gdstk.Reference(tgate_with_inverter, (162.2,8.95), rotation=pi, x_reflection=True))
tsmc350nm_verticalscanne.add(gdstk.Reference(tgate_with_inverter, (153.15,8.95), rotation=pi, x_reflection=True))
tsmc350nm_verticalscanne.add(gdstk.Reference(tgate_with_inverter, (135.05,8.95), rotation=pi, x_reflection=True))
tsmc350nm_verticalscanne.add(gdstk.Reference(tgate_with_inverter, (144.1,8.95), rotation=pi, x_reflection=True))
r = gdstk.Reference(inv0, (14.2,8.95), rotation=pi, x_reflection=True); r.repetition = gdstk.Repetition(4, 1, v1=(-2.8,0), v2=(0,12.5)); tsmc350nm_verticalscanne.add(r)
tsmc350nm_verticalscanne.add(gdstk.Reference(prog_periph_via2_cdns_73, (145.7,13.95), rotation=pi, x_reflection=True))
tsmc350nm_verticalscanne.add(gdstk.Reference(prog_periph_via2_cdns_73, (136.65,13.95), rotation=pi, x_reflection=True))
tsmc350nm_verticalscanne.add(gdstk.Reference(prog_periph_via2_cdns_73, (127.6,13.95), rotation=pi, x_reflection=True))
tsmc350nm_verticalscanne.add(gdstk.Reference(prog_periph_via2_cdns_73, (122,1.3), rotation=pi, x_reflection=True))
tsmc350nm_verticalscanne.add(gdstk.Reference(prog_periph_via2_cdns_73, (159.2,8.05), rotation=pi, x_reflection=True))
tsmc350nm_verticalscanne.add(gdstk.Reference(prog_periph_via2_cdns_73, (150.15,8.05), rotation=pi, x_reflection=True))
tsmc350nm_verticalscanne.add(gdstk.Reference(prog_periph_via2_cdns_73, (141.1,8.05), rotation=pi, x_reflection=True))
tsmc350nm_verticalscanne.add(gdstk.Reference(prog_periph_via2_cdns_73, (132.05,8.05), rotation=pi, x_reflection=True))
tsmc350nm_verticalscanne.add(gdstk.Reference(prog_periph_via2_cdns_73, (132.05,12.01), rotation=pi, x_reflection=True))
tsmc350nm_verticalscanne.add(gdstk.Reference(prog_periph_via2_cdns_73, (141.1,12.01), rotation=pi, x_reflection=True))
tsmc350nm_verticalscanne.add(gdstk.Reference(prog_periph_via2_cdns_73, (150.15,12.01), rotation=pi, x_reflection=True))
tsmc350nm_verticalscanne.add(gdstk.Reference(prog_periph_via2_cdns_73, (159.2,12.01), rotation=pi, x_reflection=True))
tsmc350nm_verticalscanne.add(gdstk.Reference(prog_periph_via2_cdns_73, (127.6,1.3), rotation=pi, x_reflection=True))
tsmc350nm_verticalscanne.add(gdstk.Reference(prog_periph_via2_cdns_73, (133.6,1.3), rotation=pi, x_reflection=True))
tsmc350nm_verticalscanne.add(gdstk.Reference(prog_periph_via2_cdns_73, (136.65,2.65), rotation=pi, x_reflection=True))
tsmc350nm_verticalscanne.add(gdstk.Reference(prog_periph_via2_cdns_73, (142.65,2.65), rotation=pi, x_reflection=True))
tsmc350nm_verticalscanne.add(gdstk.Reference(prog_periph_via2_cdns_73, (145.7,4), rotation=pi, x_reflection=True))
tsmc350nm_verticalscanne.add(gdstk.Reference(prog_periph_via2_cdns_73, (151.7,6.7), rotation=pi, x_reflection=True))
tsmc350nm_verticalscanne.add(gdstk.Reference(prog_periph_via2_cdns_73, (161.9,14.75), rotation=pi, x_reflection=True))
tsmc350nm_verticalscanne.add(gdstk.Reference(prog_periph_via2_cdns_73, (161.8,6.7), rotation=pi, x_reflection=True))
tsmc350nm_verticalscanne.add(gdstk.Reference(prog_periph_via2_cdns_73, (163.15,6.84), rotation=pi, x_reflection=True))
tsmc350nm_verticalscanne.add(gdstk.Reference(prog_periph_via2_cdns_73, (162.9,2.65), rotation=pi, x_reflection=True))
tsmc350nm_verticalscanne.add(gdstk.Reference(prog_periph_via2_cdns_73, (154.75,5.35), rotation=pi, x_reflection=True))
tsmc350nm_verticalscanne.add(gdstk.Reference(prog_periph_via2_cdns_73, (133.6,14.94), rotation=pi, x_reflection=True))
tsmc350nm_verticalscanne.add(gdstk.Reference(prog_periph_via2_cdns_73, (142.65,14.94), rotation=pi, x_reflection=True))
tsmc350nm_verticalscanne.add(gdstk.Reference(prog_periph_via2_cdns_73, (151.7,14.94), rotation=pi, x_reflection=True))
tsmc350nm_verticalscanne.add(gdstk.Reference(prog_periph_via2_cdns_73, (154.75,13.95), rotation=pi, x_reflection=True))
tsmc350nm_verticalscanne.add(gdstk.Reference(prog_periph_via2_cdns_73, (102.4,5.35), rotation=pi, x_reflection=True))
tsmc350nm_verticalscanne.add(gdstk.Reference(prog_periph_via2_cdns_73, (94,5.35), rotation=pi, x_reflection=True))
tsmc350nm_verticalscanne.add(gdstk.Reference(prog_periph_via2_cdns_73, (74.4,4), rotation=pi, x_reflection=True))
tsmc350nm_verticalscanne.add(gdstk.Reference(prog_periph_via2_cdns_73, (66,4), rotation=pi, x_reflection=True))
tsmc350nm_verticalscanne.add(gdstk.Reference(prog_periph_via2_cdns_73, (46.4,2.65), rotation=pi, x_reflection=True))
tsmc350nm_verticalscanne.add(gdstk.Reference(prog_periph_via2_cdns_73, (38,2.65), rotation=pi, x_reflection=True))
tsmc350nm_verticalscanne.add(gdstk.Reference(prog_periph_via2_cdns_73, (18.4,1.3), rotation=pi, x_reflection=True))
tsmc350nm_verticalscanne.add(gdstk.Reference(prog_periph_via2_cdns_73, (4.4,6.7), rotation=pi, x_reflection=True))
tsmc350nm_verticalscanne.add(gdstk.Reference(prog_periph_via2_cdns_73, (4.4,15.2), rotation=pi, x_reflection=True))
tsmc350nm_verticalscanne.add(gdstk.Reference(prog_periph_via2_cdns_73, (8.6,13.95), rotation=pi, x_reflection=True))
tsmc350nm_verticalscanne.add(gdstk.Reference(prog_periph_via2_cdns_73, (10,8.05), rotation=pi, x_reflection=True))
tsmc350nm_verticalscanne.add(gdstk.Reference(prog_periph_via2_cdns_73, (14.2,13.95), rotation=pi, x_reflection=True))
tsmc350nm_verticalscanne.add(gdstk.Reference(prog_periph_via2_cdns_73, (10,15.2), rotation=pi, x_reflection=True))
tsmc350nm_verticalscanne.add(gdstk.Reference(prog_periph_via2_cdns_73, (29.61,6.7), rotation=pi, x_reflection=True))
tsmc350nm_verticalscanne.add(gdstk.Reference(prog_periph_via2_cdns_73, (57.6,6.7), rotation=pi, x_reflection=True))
tsmc350nm_verticalscanne.add(gdstk.Reference(prog_periph_via2_cdns_73, (85.59,6.7), rotation=pi, x_reflection=True))
tsmc350nm_verticalscanne.add(gdstk.Reference(prog_periph_via2_cdns_73, (113.61,6.7), rotation=pi, x_reflection=True))
tsmc350nm_verticalscanne.add(gdstk.Reference(prog_periph_via2_cdns_73, (126.2,8.05), rotation=pi, x_reflection=True))
tsmc350nm_verticalscanne.add(gdstk.Reference(prog_periph_via2_cdns_73, (98.2,8.05), rotation=pi, x_reflection=True))
tsmc350nm_verticalscanne.add(gdstk.Reference(prog_periph_via2_cdns_73, (70.21,8.05), rotation=pi, x_reflection=True))
tsmc350nm_verticalscanne.add(gdstk.Reference(prog_periph_via2_cdns_73, (42.2,8.05), rotation=pi, x_reflection=True))
tsmc350nm_verticalscanne.add(gdstk.Reference(m2_m1__193668140_cdns_73, (110.56,10.13), rotation=pi, x_reflection=True))
tsmc350nm_verticalscanne.add(gdstk.Reference(m2_m1__193668140_cdns_73, (118.49,20.34), rotation=pi, x_reflection=True))
tsmc350nm_verticalscanne.add(gdstk.Reference(m2_m1__193575980_cdns_73, (2.77,10.09), rotation=pi, x_reflection=True))
tsmc350nm_verticalscanne.add(gdstk.Reference(m2_m1__193575980_cdns_73, (0.75,20.32), rotation=pi, x_reflection=True))
tsmc350nm_verticalscanne.add(gdstk.Label('In<3>', (164.87,4.31), layer=40, texttype=0))
tsmc350nm_verticalscanne.add(gdstk.Label('In<2>', (164.87,7.15), layer=40, texttype=0))
tsmc350nm_verticalscanne.add(gdstk.Label('In<1>', (164.88,15.06), layer=40, texttype=0))
tsmc350nm_verticalscanne.add(gdstk.Label('In<0>', (164.86,17.92), layer=40, texttype=0))
tsmc350nm_verticalscanne.add(gdstk.Label('fake_pin', (164.55,10.98), layer=40, texttype=0))
tsmc350nm_verticalscanne.add(gdstk.Label('Out', (159.2,0.5), layer=41, texttype=0))
tsmc350nm_verticalscanne.add(gdstk.Label('Din', (122,21.79), layer=41, texttype=0))
tsmc350nm_verticalscanne.add(gdstk.Label('Qout', (122,0.24), layer=41, texttype=0))
tsmc350nm_verticalscanne.add(gdstk.Label('VSS', (110.56,0.28), layer=41, texttype=0))
tsmc350nm_verticalscanne.add(gdstk.Label('VDD', (118.49,21.78), layer=41, texttype=0))
tsmc350nm_verticalscanne.add(gdstk.Label('RSTBar', (8.6,21.81), layer=41, texttype=0))
tsmc350nm_verticalscanne.add(gdstk.Label('CLK', (14.2,21.82), layer=41, texttype=0))

lib.write_gds('TSMC350nm_VerticalScanner.gds')
